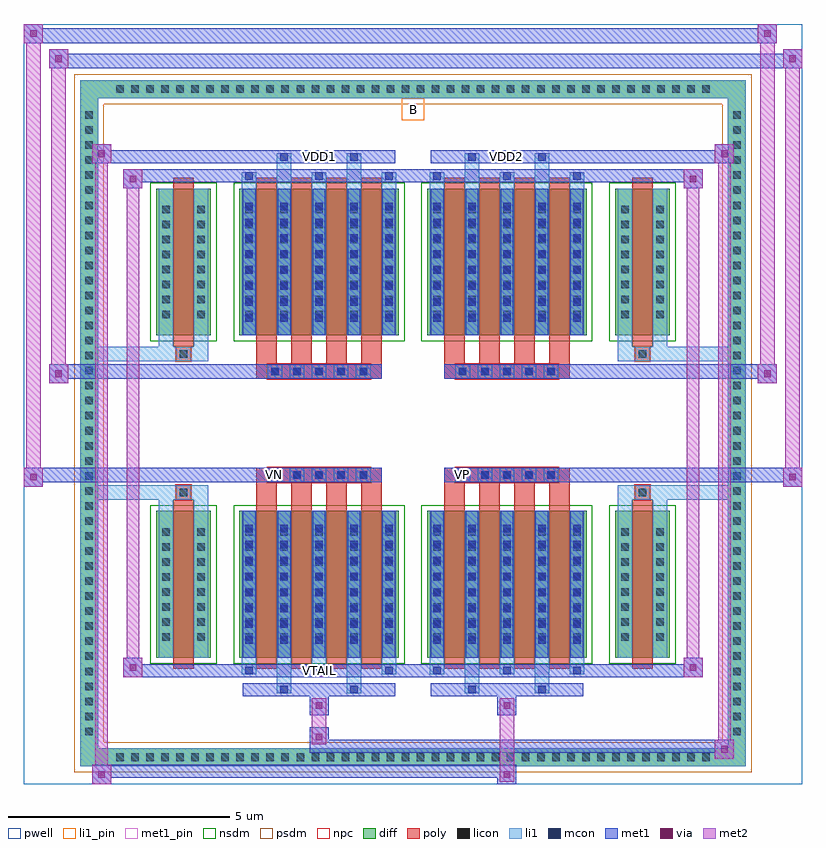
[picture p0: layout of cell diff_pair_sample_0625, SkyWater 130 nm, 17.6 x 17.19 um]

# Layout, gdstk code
import gdstk
lib = gdstk.Library(unit=1e-6, precision=5e-09)
def R(c, l, rs):  # rectangles x0, y0, x1, y1
    for r in rs: c.add(gdstk.rectangle(r[:2], r[2:], *l))
def A(c, l, x, y, w, h, nx, ny, dx, dy):  # array of equal rectangles
    R(c, l, [(x+i*dx, y+j*dy, x+i*dx+w, y+j*dy+h) for i in range(nx) for j in range(ny)])
def P(c, l, *ps):  # polygons
    for p in ps: c.add(gdstk.Polygon(p, *l))
pwell = (64, 44)
diff = (65, 20)
poly = (66, 20)
licon = (66, 44)
li1_pin = (67, 16)
li1 = (67, 20)
mcon = (67, 44)
met1_pin = (68, 16)
met1 = (68, 20)
via = (68, 44)
met2 = (69, 20)
nsdm = (93, 44)
psdm = (94, 20)
npc = (95, 20)

diff_pair_sample_0625 = lib.new_cell('diff_pair_sample_0625')
R(diff_pair_sample_0625, pwell, [(-8.8,-8.16,8.8,9.03), (-6.12,-6.35,-0.01,-0.805), (0.01,-6.35,6.12,-0.805), (-6.12,0.805,-0.01,6.35), (0.01,0.805,6.12,6.35)])
A(diff_pair_sample_0625, diff, -6.835, -7.76, 0.41, 0.41, 40, 2, 0.34, 15.11)
A(diff_pair_sample_0625, diff, -7.53, -7.175, 0.41, 0.41, 1, 42, 0, 0.34)
A(diff_pair_sample_0625, diff, 7.12, -7.175, 0.41, 0.41, 1, 42, 0, 0.34)
R(diff_pair_sample_0625, diff, [(-6.835,-7.76,6.835,-7.35), (-7.53,-7.175,-7.12,7.175), (7.12,-7.175,7.53,7.175), (-5.81,-5.305,-4.57,-1.985), (-3.93,-5.305,-0.32,-1.985), (0.32,-5.305,3.93,-1.985), (4.57,-5.305,5.81,-1.985), (-5.81,1.985,-4.57,5.305), (-3.93,1.985,-0.32,5.305), (0.32,1.985,3.93,5.305), (4.57,1.985,5.81,5.305), (-6.835,7.35,6.835,7.76)])
P(diff_pair_sample_0625, diff, [(7.53,7.76),(-7.53,7.76),(-7.53,-7.35),(-7.12,-7.35),(-7.12,7.35),(7.12,7.35),(7.12,-7.35),(-7.12,-7.35),(-7.53,-7.35),(-7.53,-7.76),(7.53,-7.76)])
A(diff_pair_sample_0625, poly, -3.54, -5.555, 0.46, 3.82, 4, 2, 0.79, 7.29)
A(diff_pair_sample_0625, poly, 0.71, -5.555, 0.46, 3.82, 4, 2, 0.79, 7.29)
A(diff_pair_sample_0625, poly, -3.54, -1.735, 0.46, 0.4, 4, 2, 0.79, 3.07)
A(diff_pair_sample_0625, poly, 0.71, -1.735, 0.46, 0.4, 4, 2, 0.79, 3.07)
A(diff_pair_sample_0625, poly, -3.29, -1.335, 0.33, 0.33, 5, 2, 0.5, 2.34)
A(diff_pair_sample_0625, poly, 0.96, -1.335, 0.33, 0.33, 5, 2, 0.5, 2.34)
R(diff_pair_sample_0625, poly, [(-5.42,-5.555,-4.96,-1.735), (4.96,-5.555,5.42,-1.735), (-5.355,-1.735,-5.025,-1.405), (-5.355,-1.735,-5.025,-1.405), (5.025,-1.735,5.355,-1.405), (5.025,-1.735,5.355,-1.405), (-3.54,-1.335,-0.71,-1.005), (0.71,-1.335,3.54,-1.005), (-3.54,1.005,-0.71,1.335), (0.71,1.005,3.54,1.335), (-5.355,1.405,-5.025,1.735), (-5.355,1.405,-5.025,1.735), (5.025,1.405,5.355,1.735), (5.025,1.405,5.355,1.735), (-5.42,1.735,-4.96,5.555), (4.96,1.735,5.42,5.555)])
A(diff_pair_sample_0625, licon, -6.715, -7.64, 0.17, 0.17, 40, 2, 0.34, 15.11)
A(diff_pair_sample_0625, licon, -7.41, -7.055, 0.17, 0.17, 1, 42, 0, 0.34)
A(diff_pair_sample_0625, licon, 7.24, -7.055, 0.17, 0.17, 1, 42, 0, 0.34)
A(diff_pair_sample_0625, licon, -5.67, -4.92, 0.17, 0.17, 1, 8, 0, 0.34)
A(diff_pair_sample_0625, licon, -4.88, -4.92, 0.17, 0.17, 1, 8, 0, 0.34)
A(diff_pair_sample_0625, licon, -3.79, -4.92, 0.17, 0.17, 5, 8, 0.79, 0.34)
A(diff_pair_sample_0625, licon, 0.46, -4.92, 0.17, 0.17, 5, 8, 0.79, 0.34)
A(diff_pair_sample_0625, licon, 4.71, -4.92, 0.17, 0.17, 1, 8, 0, 0.34)
A(diff_pair_sample_0625, licon, 5.5, -4.92, 0.17, 0.17, 1, 8, 0, 0.34)
A(diff_pair_sample_0625, licon, -3.21, -1.255, 0.17, 0.17, 5, 2, 0.5, 2.34)
A(diff_pair_sample_0625, licon, 1.04, -1.255, 0.17, 0.17, 5, 2, 0.5, 2.34)
A(diff_pair_sample_0625, licon, -5.67, 2.37, 0.17, 0.17, 1, 8, 0, 0.34)
A(diff_pair_sample_0625, licon, -4.88, 2.37, 0.17, 0.17, 1, 8, 0, 0.34)
A(diff_pair_sample_0625, licon, -3.79, 2.37, 0.17, 0.17, 5, 8, 0.79, 0.34)
A(diff_pair_sample_0625, licon, 0.46, 2.37, 0.17, 0.17, 5, 8, 0.79, 0.34)
A(diff_pair_sample_0625, licon, 4.71, 2.37, 0.17, 0.17, 1, 8, 0, 0.34)
A(diff_pair_sample_0625, licon, 5.5, 2.37, 0.17, 0.17, 1, 8, 0, 0.34)
R(diff_pair_sample_0625, licon, [(-5.275,-1.655,-5.105,-1.485), (5.105,-1.655,5.275,-1.485), (-5.275,1.485,-5.105,1.655), (5.105,1.485,5.275,1.655)])
R(diff_pair_sample_0625, li1_pin, [(-0.25,6.85,0.25,7.35)])
A(diff_pair_sample_0625, li1, -6.795, -7.72, 0.33, 0.33, 40, 2, 0.34, 15.11)
A(diff_pair_sample_0625, li1, -7.49, -7.135, 0.33, 0.33, 1, 42, 0, 0.34)
A(diff_pair_sample_0625, li1, 7.16, -7.135, 0.33, 0.33, 1, 42, 0, 0.34)
A(diff_pair_sample_0625, li1, -3.87, -5.68, 0.33, 0.375, 3, 2, 1.58, 10.985)
A(diff_pair_sample_0625, li1, -3.79, -5.68, 0.17, 0.17, 3, 2, 1.58, 11.19)
A(diff_pair_sample_0625, li1, 0.38, -5.68, 0.33, 0.375, 3, 2, 1.58, 10.985)
A(diff_pair_sample_0625, li1, 0.46, -5.68, 0.17, 0.17, 3, 2, 1.58, 11.19)
A(diff_pair_sample_0625, li1, -3.87, -5.305, 0.33, 3.32, 5, 2, 0.79, 7.29)
A(diff_pair_sample_0625, li1, 0.38, -5.305, 0.33, 3.32, 5, 2, 0.79, 7.29)
A(diff_pair_sample_0625, li1, -5.75, -5, 0.33, 0.33, 1, 8, 0, 0.34)
A(diff_pair_sample_0625, li1, -4.96, -5, 0.33, 0.33, 1, 8, 0, 0.34)
A(diff_pair_sample_0625, li1, -3.87, -5, 0.33, 0.33, 5, 8, 0.79, 0.34)
A(diff_pair_sample_0625, li1, 0.38, -5, 0.33, 0.33, 5, 8, 0.79, 0.34)
A(diff_pair_sample_0625, li1, 4.63, -5, 0.33, 0.33, 1, 8, 0, 0.34)
A(diff_pair_sample_0625, li1, 5.42, -5, 0.33, 0.33, 1, 8, 0, 0.34)
A(diff_pair_sample_0625, li1, -3.79, -4.99, 0.17, 0.17, 5, 8, 0.79, 0.36)
A(diff_pair_sample_0625, li1, -3.79, -4.99, 0.17, 2.69, 5, 2, 0.79, 7.29)
A(diff_pair_sample_0625, li1, 0.46, -4.99, 0.17, 0.17, 5, 8, 0.79, 0.36)
A(diff_pair_sample_0625, li1, 0.46, -4.99, 0.17, 2.69, 5, 2, 0.79, 7.29)
A(diff_pair_sample_0625, li1, -3.29, -1.335, 0.33, 0.33, 5, 2, 0.5, 2.34)
A(diff_pair_sample_0625, li1, 0.96, -1.335, 0.33, 0.33, 5, 2, 0.5, 2.34)
A(diff_pair_sample_0625, li1, -5.75, 2.29, 0.33, 0.33, 1, 8, 0, 0.34)
A(diff_pair_sample_0625, li1, -4.96, 2.29, 0.33, 0.33, 1, 8, 0, 0.34)
A(diff_pair_sample_0625, li1, -3.87, 2.29, 0.33, 0.33, 5, 8, 0.79, 0.34)
A(diff_pair_sample_0625, li1, 0.38, 2.29, 0.33, 0.33, 5, 8, 0.79, 0.34)
A(diff_pair_sample_0625, li1, 4.63, 2.29, 0.33, 0.33, 1, 8, 0, 0.34)
A(diff_pair_sample_0625, li1, 5.42, 2.29, 0.33, 0.33, 1, 8, 0, 0.34)
A(diff_pair_sample_0625, li1, -3.79, 2.3, 0.17, 0.17, 5, 8, 0.79, 0.36)
A(diff_pair_sample_0625, li1, 0.46, 2.3, 0.17, 0.17, 5, 8, 0.79, 0.36)
R(diff_pair_sample_0625, li1, [(-7.53,-7.76,-7.12,-7.35), (-7.53,-7.76,-7.12,-7.35), (-7.12,-7.76,7.12,-7.35), (7.12,-7.76,7.53,-7.35), (7.12,-7.76,7.53,-7.35), (-7.53,-7.35,-7.12,7.35), (7.12,-7.35,7.53,7.35), (-3.08,-6.11,-2.75,-5.305), (-3,-6.11,-2.83,-5.94), (-1.5,-6.11,-1.17,-5.305), (-1.42,-6.11,-1.25,-5.94), (1.17,-6.11,1.5,-5.305), (1.25,-6.11,1.42,-5.94), (2.75,-6.11,3.08,-5.305), (2.83,-6.11,3,-5.94), (-5.75,-5.305,-5.42,-1.985), (-4.96,-5.305,-4.63,-1.985), (4.63,-5.305,4.96,-1.985), (5.42,-5.305,5.75,-1.985), (-5.75,-1.985,-5.42,-1.405), (-4.96,-1.985,-4.63,-1.405), (4.63,-1.985,4.96,-1.405), (5.42,-1.985,5.75,-1.405), (-7.53,-1.735,-5.355,-1.405), (-5.75,-1.735,-5.355,-1.405), (-5.355,-1.735,-5.025,-1.405), (-5.025,-1.735,-4.63,-1.405), (4.63,-1.735,5.025,-1.405), (5.025,-1.735,5.355,-1.405), (5.025,-1.735,7.53,-1.405), (5.355,-1.735,5.75,-1.405), (-7.53,1.405,-5.355,1.735), (-5.75,1.405,-5.355,1.735), (-5.75,1.405,-5.42,1.985), (-5.355,1.405,-5.025,1.735), (-5.025,1.405,-4.63,1.735), (-4.96,1.405,-4.63,1.985), (4.63,1.405,5.025,1.735), (4.63,1.405,4.96,1.985), (5.025,1.405,5.355,1.735), (5.025,1.405,7.53,1.735), (5.355,1.405,5.75,1.735), (5.42,1.405,5.75,1.985), (-5.75,1.985,-5.42,5.305), (-4.96,1.985,-4.63,5.305), (4.63,1.985,4.96,5.305), (5.42,1.985,5.75,5.305), (-3.08,5.305,-2.75,6.11), (-1.5,5.305,-1.17,6.11), (1.17,5.305,1.5,6.11), (2.75,5.305,3.08,6.11), (-3,5.94,-2.83,6.11), (-1.42,5.94,-1.25,6.11), (1.25,5.94,1.42,6.11), (2.83,5.94,3,6.11), (-7.53,7.35,-7.12,7.76), (-7.53,7.35,-7.12,7.76), (-7.12,7.35,7.12,7.76), (7.12,7.35,7.53,7.76), (7.12,7.35,7.53,7.76)])
A(diff_pair_sample_0625, mcon, -3.79, -5.68, 0.17, 0.17, 3, 2, 1.58, 11.19)
A(diff_pair_sample_0625, mcon, 0.46, -5.68, 0.17, 0.17, 3, 2, 1.58, 11.19)
A(diff_pair_sample_0625, mcon, -3.79, -4.99, 0.17, 0.17, 5, 8, 0.79, 0.36)
A(diff_pair_sample_0625, mcon, 0.46, -4.99, 0.17, 0.17, 5, 8, 0.79, 0.36)
A(diff_pair_sample_0625, mcon, -3.21, -1.255, 0.17, 0.17, 5, 2, 0.5, 2.34)
A(diff_pair_sample_0625, mcon, 1.04, -1.255, 0.17, 0.17, 5, 2, 0.5, 2.34)
A(diff_pair_sample_0625, mcon, -3.79, 2.3, 0.17, 0.17, 5, 8, 0.79, 0.36)
A(diff_pair_sample_0625, mcon, 0.46, 2.3, 0.17, 0.17, 5, 8, 0.79, 0.36)
R(diff_pair_sample_0625, mcon, [(-3,-6.11,-2.83,-5.94), (-1.42,-6.11,-1.25,-5.94), (1.25,-6.11,1.42,-5.94), (2.83,-6.11,3,-5.94), (-3,5.94,-2.83,6.11), (-1.42,5.94,-1.25,6.11), (1.25,5.94,1.42,6.11), (2.83,5.94,3,6.11)])
R(diff_pair_sample_0625, met1_pin, [(-2.26,-5.72,-1.99,-5.45), (-3.26,-1.295,-2.99,-1.025), (0.99,-1.295,1.26,-1.025), (-2.26,5.9,-1.99,6.17), (1.99,5.9,2.26,6.17)])
A(diff_pair_sample_0625, met1, -3.85, -5.74, 0.29, 0.29, 3, 2, 1.58, 11.19)
A(diff_pair_sample_0625, met1, 0.4, -5.74, 0.29, 0.29, 3, 2, 1.58, 11.19)
A(diff_pair_sample_0625, met1, -3.85, -5.305, 0.29, 3.32, 5, 2, 0.79, 7.29)
A(diff_pair_sample_0625, met1, 0.4, -5.305, 0.29, 3.32, 5, 2, 0.79, 7.29)
A(diff_pair_sample_0625, met1, -3.85, -5.05, 0.29, 0.29, 5, 8, 0.79, 0.36)
A(diff_pair_sample_0625, met1, 0.4, -5.05, 0.29, 0.29, 5, 8, 0.79, 0.36)
A(diff_pair_sample_0625, met1, -3.27, -1.315, 0.29, 0.29, 5, 2, 0.5, 2.34)
A(diff_pair_sample_0625, met1, 0.98, -1.315, 0.29, 0.29, 5, 2, 0.5, 2.34)
A(diff_pair_sample_0625, met1, -3.85, 2.24, 0.29, 0.29, 5, 8, 0.79, 0.36)
A(diff_pair_sample_0625, met1, 0.4, 2.24, 0.29, 0.29, 5, 8, 0.79, 0.36)
R(diff_pair_sample_0625, met1, [(-7.26,-8.16,-6.83,-7.73), (1.91,-8.16,2.34,-7.73), (-7.26,-8.02,2.34,-7.73), (6.83,-7.59,7.26,-7.16), (-2.34,-7.45,7.26,-7.16), (-2.34,-7.31,-1.91,-6.88), (-2.34,-6.6,-1.91,-6.17), (1.91,-6.6,2.34,-6.17), (-3.85,-6.17,-0.4,-5.88), (-3.06,-6.17,-2.77,-5.88), (-1.48,-6.17,-1.19,-5.88), (0.4,-6.17,3.85,-5.88), (1.19,-6.17,1.48,-5.88), (2.77,-6.17,3.06,-5.88), (-6.55,-5.74,-6.12,-5.31), (-6.55,-5.74,-3.85,-5.45), (-3.85,-5.74,-0.4,-5.45), (-0.4,-5.74,0.4,-5.45), (0.4,-5.74,3.85,-5.45), (3.85,-5.74,6.55,-5.45), (6.12,-5.74,6.55,-5.31), (-8.8,-1.435,-8.37,-1.005), (8.37,-1.435,8.8,-1.005), (-8.8,-1.335,-0.71,-1.005), (-3.54,-1.335,-0.71,-1.005), (0.71,-1.335,3.54,-1.005), (0.71,-1.335,8.8,-1.005), (-8.23,0.905,-7.8,1.335), (7.8,0.905,8.23,1.335), (-8.23,1.005,-3.54,1.335), (-3.54,1.005,-0.71,1.335), (0.71,1.005,3.54,1.335), (3.54,1.005,8.23,1.335), (-6.55,5.31,-6.12,5.74), (6.12,5.31,6.55,5.74), (-6.55,5.45,-3.85,5.74), (-3.85,5.45,-0.4,5.74), (-0.4,5.45,0.4,5.74), (0.4,5.45,3.85,5.74), (3.85,5.45,6.55,5.74), (-7.26,5.88,-6.83,6.31), (-7.26,5.88,-3.85,6.17), (-3.85,5.88,-0.4,6.17), (-3.06,5.88,-2.77,6.17), (-1.48,5.88,-1.19,6.17), (0.4,5.88,3.85,6.17), (1.19,5.88,1.48,6.17), (2.77,5.88,3.06,6.17), (3.85,5.88,7.26,6.17), (6.83,5.88,7.26,6.31), (-8.23,8.03,-7.8,8.46), (-8.23,8.03,-6.12,8.36), (-6.12,8.03,6.12,8.36), (6.12,8.03,8.8,8.36), (8.37,8.03,8.8,8.46), (-8.8,8.6,-8.37,9.03), (-8.8,8.6,-6.12,8.93), (-6.12,8.6,6.12,8.93), (6.12,8.6,8.23,8.93), (7.8,8.6,8.23,9.03)])
R(diff_pair_sample_0625, via, [(-7.12,-8.02,-6.97,-7.87), (2.05,-8.02,2.2,-7.87), (6.97,-7.45,7.12,-7.3), (-2.2,-7.17,-2.05,-7.02), (-2.2,-6.46,-2.05,-6.31), (2.05,-6.46,2.2,-6.31), (-6.41,-5.6,-6.26,-5.45), (6.26,-5.6,6.41,-5.45), (-8.66,-1.295,-8.51,-1.145), (8.51,-1.295,8.66,-1.145), (-8.09,1.045,-7.94,1.195), (7.94,1.045,8.09,1.195), (-6.41,5.45,-6.26,5.6), (6.26,5.45,6.41,5.6), (-7.12,6.02,-6.97,6.17), (6.97,6.02,7.12,6.17), (-8.09,8.17,-7.94,8.32), (8.51,8.17,8.66,8.32), (-8.66,8.74,-8.51,8.89), (7.94,8.74,8.09,8.89)])
R(diff_pair_sample_0625, met2, [(-7.26,-8.16,-6.83,-7.73), (-7.19,-8.16,-6.9,6.31), (-6.9,-8.16,-6.83,-7.73), (-7.21,-8.11,-6.88,-7.78), (1.96,-8.11,2.29,-7.78), (1.96,-7.78,2.29,-6.55), (6.83,-7.59,7.26,-7.16), (6.9,-7.59,7.19,6.31), (7.19,-7.59,7.26,-7.16), (6.88,-7.54,7.21,-7.21), (-2.29,-7.26,-1.96,-6.93), (-2.29,-6.93,-1.96,-6.55), (-2.29,-6.55,-1.96,-6.22), (1.96,-6.55,2.29,-6.22), (-6.55,-5.74,-6.12,-5.31), (-6.48,-5.74,-6.19,5.74), (-6.19,-5.74,-6.12,-5.31), (6.12,-5.74,6.55,-5.31), (6.19,-5.74,6.48,5.74), (6.48,-5.74,6.55,-5.31), (-6.5,-5.69,-6.17,-5.36), (6.17,-5.69,6.5,-5.36), (-8.8,-1.435,-8.37,-1.005), (-8.75,-1.435,-8.42,9.03), (-8.42,-1.435,-8.37,-1.005), (8.37,-1.435,8.8,-1.005), (8.42,-1.435,8.75,8.46), (8.75,-1.435,8.8,-1.005), (-8.75,-1.385,-8.42,-1.055), (8.42,-1.385,8.75,-1.055), (-8.23,0.905,-7.8,1.335), (-8.18,0.905,-7.85,8.46), (-7.85,0.905,-7.8,1.335), (7.8,0.905,8.23,1.335), (7.85,0.905,8.18,9.03), (8.18,0.905,8.23,1.335), (-8.18,0.955,-7.85,1.285), (7.85,0.955,8.18,1.285), (-6.55,5.31,-6.12,5.74), (-6.19,5.31,-6.12,5.74), (6.12,5.31,6.55,5.74), (6.48,5.31,6.55,5.74), (-6.5,5.36,-6.17,5.69), (6.17,5.36,6.5,5.69), (-7.26,5.88,-6.83,6.31), (-6.9,5.88,-6.83,6.31), (6.83,5.88,7.26,6.31), (7.19,5.88,7.26,6.31), (-7.21,5.93,-6.88,6.26), (6.88,5.93,7.21,6.26), (-8.23,8.03,-7.8,8.46), (-7.85,8.03,-7.8,8.46), (8.37,8.03,8.8,8.46), (8.75,8.03,8.8,8.46), (-8.18,8.08,-7.85,8.41), (8.42,8.08,8.75,8.41), (-8.8,8.6,-8.37,9.03), (-8.42,8.6,-8.37,9.03), (7.8,8.6,8.23,9.03), (8.18,8.6,8.23,9.03), (-8.75,8.65,-8.42,8.98), (7.85,8.65,8.18,8.98)])
R(diff_pair_sample_0625, nsdm, [(-5.94,-5.435,-4.44,-1.855), (-4.06,-5.435,-0.19,-1.855), (0.19,-5.435,4.06,-1.855), (4.44,-5.435,5.94,-1.855), (-5.94,1.855,-4.44,5.435), (-4.06,1.855,-0.19,5.435), (0.19,1.855,4.06,5.435), (4.44,1.855,5.94,5.435)])
P(diff_pair_sample_0625, psdm, [(7.66,7.89),(-7.66,7.89),(-7.66,-7.22),(-6.99,-7.22),(-6.99,7.22),(6.99,7.22),(6.99,-7.22),(-6.99,-7.22),(-7.66,-7.22),(-7.66,-7.89),(7.66,-7.89)])
A(diff_pair_sample_0625, npc, -3.31, -1.355, 0.37, 0.37, 5, 2, 0.5, 2.34)
A(diff_pair_sample_0625, npc, 0.94, -1.355, 0.37, 0.37, 5, 2, 0.5, 2.34)
R(diff_pair_sample_0625, npc, [(-5.375,-1.755,-5.005,-1.385), (5.005,-1.755,5.375,-1.385), (-3.31,-1.355,-2.44,-0.985), (-3.31,-1.355,-2.44,-0.985), (-2.81,-1.355,-1.94,-0.985), (-2.81,-1.355,-1.94,-0.985), (-2.31,-1.355,-1.44,-0.985), (-2.31,-1.355,-1.44,-0.985), (-1.81,-1.355,-0.94,-0.985), (-1.81,-1.355,-0.94,-0.985), (0.94,-1.355,1.81,-0.985), (0.94,-1.355,1.81,-0.985), (1.44,-1.355,2.31,-0.985), (1.44,-1.355,2.31,-0.985), (1.94,-1.355,2.81,-0.985), (1.94,-1.355,2.81,-0.985), (2.44,-1.355,3.31,-0.985), (2.44,-1.355,3.31,-0.985), (-3.31,0.985,-2.44,1.355), (-3.31,0.985,-2.44,1.355), (-2.81,0.985,-1.94,1.355), (-2.81,0.985,-1.94,1.355), (-2.31,0.985,-1.44,1.355), (-2.31,0.985,-1.44,1.355), (-1.81,0.985,-0.94,1.355), (-1.81,0.985,-0.94,1.355), (0.94,0.985,1.81,1.355), (0.94,0.985,1.81,1.355), (1.44,0.985,2.31,1.355), (1.44,0.985,2.31,1.355), (1.94,0.985,2.81,1.355), (1.94,0.985,2.81,1.355), (2.44,0.985,3.31,1.355), (2.44,0.985,3.31,1.355), (-5.375,1.385,-5.005,1.755), (5.005,1.385,5.375,1.755)])
diff_pair_sample_0625.add(gdstk.Label('VTAIL', (-2.125,-5.585), layer=68, texttype=5))
diff_pair_sample_0625.add(gdstk.Label('VN', (-3.125,-1.16), layer=68, texttype=5))
diff_pair_sample_0625.add(gdstk.Label('VP', (1.125,-1.16), layer=68, texttype=5))
diff_pair_sample_0625.add(gdstk.Label('B', (0,7.1), layer=67, texttype=5))
diff_pair_sample_0625.add(gdstk.Label('VDD2', (2.125,6.035), layer=68, texttype=5))
diff_pair_sample_0625.add(gdstk.Label('VDD1', (-2.125,6.035), layer=68, texttype=5))

lib.write_gds('diff_pair_sample_0625.gds')
